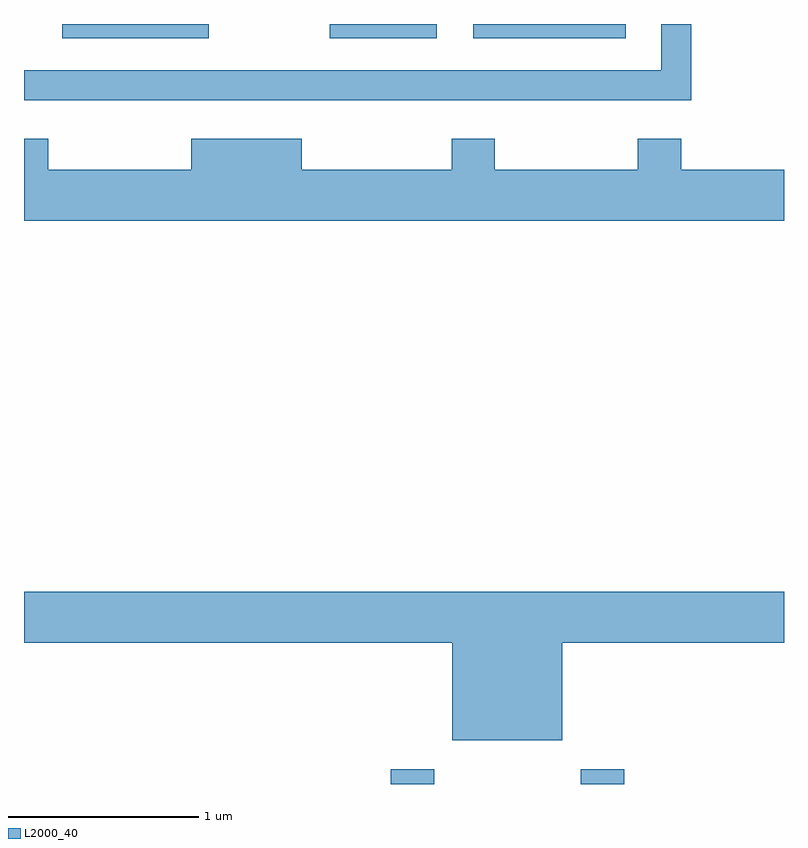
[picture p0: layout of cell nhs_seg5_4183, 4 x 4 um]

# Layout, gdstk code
import gdstk
lib = gdstk.Library(unit=1e-6, precision=1e-09)
def R(c, l, rs):  # rectangles x0, y0, x1, y1
    for r in rs: c.add(gdstk.rectangle(r[:2], r[2:], *l))
def P(c, l, *ps):  # polygons
    for p in ps: c.add(gdstk.Polygon(p, *l))
L2000_40 = (2000, 40)

nhs_seg5_4183 = lib.new_cell('nhs_seg5_4183')
R(nhs_seg5_4183, L2000_40, [(311.541,1436.072,311.769,1436.149), (312.541,1436.072,312.769,1436.149), (309.811,1439.996,310.584,1440.072), (311.221,1439.996,311.784,1440.072), (311.976,1439.996,312.779,1440.072)])
P(nhs_seg5_4183, L2000_40, [(313.124,1440.072),(312.966,1440.072),(312.966,1439.829),(309.611,1439.829),(309.611,1439.671),(313.124,1439.671)],
  [(313.611,1439.304),(313.069,1439.304),(313.069,1439.469),(312.841,1439.469),(312.841,1439.304),(312.089,1439.304),(312.089,1439.469),(311.861,1439.469),(311.861,1439.304),(311.074,1439.304),(311.074,1439.469),(310.491,1439.469),(310.491,1439.304),(309.739,1439.304),(309.739,1439.469),(309.611,1439.469),(309.611,1439.036),(313.611,1439.036)],
  [(312.444,1436.816),(313.611,1436.816),(313.611,1437.084),(309.611,1437.084),(309.611,1436.816),(311.866,1436.816),(311.866,1436.301),(312.444,1436.301)])

lib.write_gds('nhs_seg5_4183.gds')
